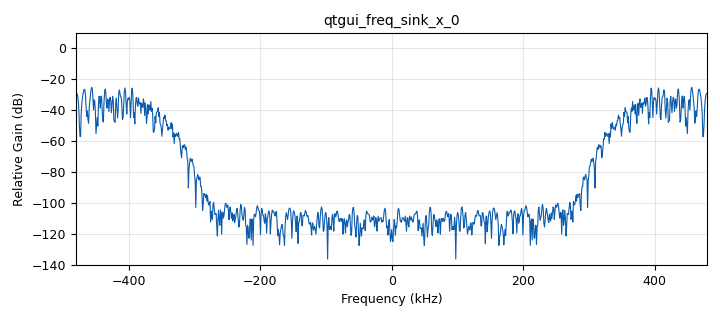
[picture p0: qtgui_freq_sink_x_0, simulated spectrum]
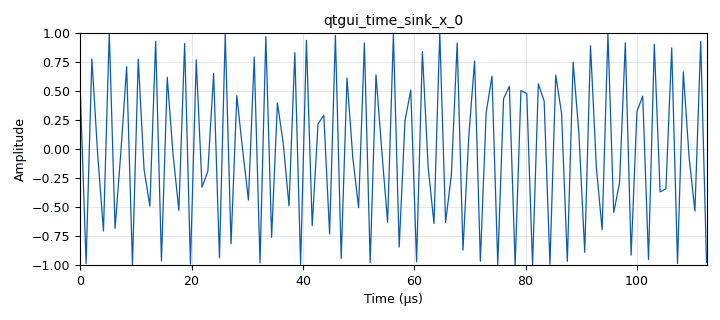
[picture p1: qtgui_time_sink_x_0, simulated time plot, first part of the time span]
options:
  parameters:
    generate_options: qt_gui
    id: frequency_modulator
    output_language: python
    title: Not titled yet
  states: {}

blocks:
- name: audio_rate
  id: variable
  parameters:
    value: '48000'
  states: {}
- name: quadrature_rate
  id: variable
  parameters:
    value: '960000'
  states: {}
- name: analog_phase_modulator_fc_0
  id: analog_phase_modulator_fc
  parameters:
    sensitivity: 75000 * 2 * 3.141
  states: {}
- name: analog_sig_source_x_0
  id: analog_sig_source_x
  parameters:
    amp: '0.5'
    freq: '1100'
    offset: '0'
    phase: '0'
    samp_rate: audio_rate
    type: float
    waveform: analog.GR_COS_WAVE
  states: {}
- name: analog_sig_source_x_0_0
  id: analog_sig_source_x
  parameters:
    amp: '0.5'
    freq: '11000'
    offset: '0'
    phase: '0'
    samp_rate: audio_rate
    type: float
    waveform: analog.GR_COS_WAVE
  states: {}
- name: analog_sig_source_x_1
  id: analog_sig_source_x
  parameters:
    amp: '1'
    freq: '400000'
    offset: '0'
    phase: '0'
    samp_rate: quadrature_rate
    type: complex
    waveform: analog.GR_COS_WAVE
  states: {}
- name: blocks_add_xx_0
  id: blocks_add_xx
  parameters:
    type: float
  states: {}
- name: blocks_complex_to_real_0
  id: blocks_complex_to_real
  parameters: {}
  states: {}
- name: blocks_multiply_xx_0
  id: blocks_multiply_xx
  parameters:
    type: complex
  states: {}
- name: blocks_throttle_0
  id: blocks_throttle
  parameters:
    samples_per_second: quadrature_rate
    type: float
  states: {}
- name: iir_filter_xxx_0
  id: iir_filter_xxx
  parameters:
    fbtaps: '[1,1]'
    fftaps: '[1/audio_rate]'
    type: ffd
  states: {}
- name: qtgui_freq_sink_x_0
  id: qtgui_freq_sink_x
  parameters:
    bw: quadrature_rate
    fc: '0'
    fftsize: '1024'
    type: float
  states: {}
- name: qtgui_time_sink_x_0
  id: qtgui_time_sink_x
  parameters:
    size: '1024'
    srate: quadrature_rate
    type: float
  states: {}
- name: rational_resampler_xxx_0
  id: rational_resampler_xxx
  parameters:
    decim: audio_rate
    interp: quadrature_rate
    type: fff
  states: {}

connections:
- [analog_phase_modulator_fc_0, '0', blocks_multiply_xx_0, '0']
- [analog_sig_source_x_0, '0', blocks_add_xx_0, '0']
- [analog_sig_source_x_0_0, '0', blocks_add_xx_0, '1']
- [analog_sig_source_x_1, '0', blocks_multiply_xx_0, '1']
- [blocks_add_xx_0, '0', iir_filter_xxx_0, '0']
- [blocks_complex_to_real_0, '0', blocks_throttle_0, '0']
- [blocks_multiply_xx_0, '0', blocks_complex_to_real_0, '0']
- [blocks_throttle_0, '0', qtgui_freq_sink_x_0, '0']
- [blocks_throttle_0, '0', qtgui_time_sink_x_0, '0']
- [iir_filter_xxx_0, '0', rational_resampler_xxx_0, '0']
- [rational_resampler_xxx_0, '0', analog_phase_modulator_fc_0, '0']

metadata:
  file_format: 1
